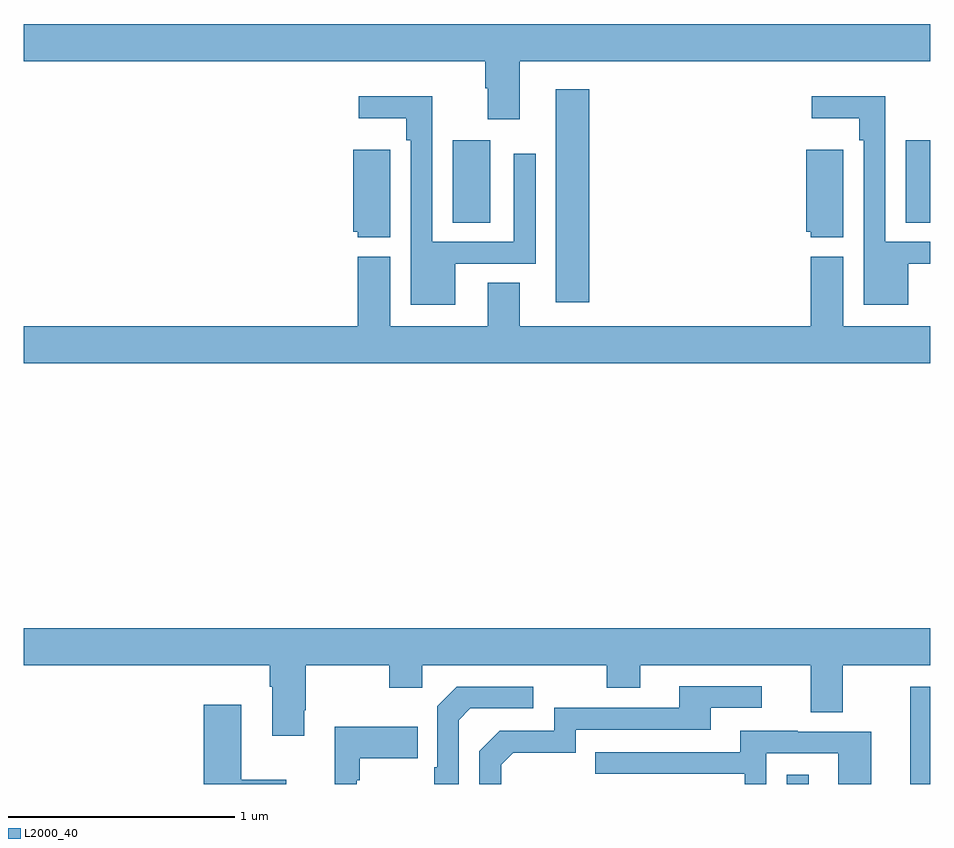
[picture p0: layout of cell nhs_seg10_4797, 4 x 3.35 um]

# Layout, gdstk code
import gdstk
lib = gdstk.Library(unit=1e-6, precision=1e-09)
def R(c, l, rs):  # rectangles x0, y0, x1, y1
    for r in rs: c.add(gdstk.rectangle(r[:2], r[2:], *l))
def P(c, l, *ps):  # polygons
    for p in ps: c.add(gdstk.Polygon(p, *l))
L2000_40 = (2000, 40)

nhs_seg10_4797 = lib.new_cell('nhs_seg10_4797')
R(nhs_seg10_4797, L2000_40, [(390.366,1258.5,390.463,1258.54), (390.911,1258.5,391,1258.929), (389.348,1260.624,389.495,1261.564), (388.892,1260.976,389.059,1261.339), (390.89,1260.976,391,1261.339)])
P(nhs_seg10_4797, L2000_40, [(389.188,1261.688),(391,1261.688),(391,1261.852),(387,1261.852),(387,1261.688),(389.036,1261.688),(389.036,1261.568),(389.048,1261.568),(389.048,1261.431),(389.188,1261.431)],
  [(390.901,1260.795),(391,1260.795),(391,1260.891),(390.801,1260.891),(390.801,1261.534),(390.477,1261.534),(390.477,1261.436),(390.685,1261.436),(390.685,1261.34),(390.705,1261.34),(390.705,1260.614),(390.901,1260.614)],
  [(388.903,1260.795),(389.259,1260.795),(389.259,1261.279),(389.163,1261.279),(389.163,1260.891),(388.803,1260.891),(388.803,1261.534),(388.479,1261.534),(388.479,1261.436),(388.687,1261.436),(388.687,1261.34),(388.707,1261.34),(388.707,1260.614),(388.903,1260.614)],
  [(388.618,1261.297),(388.454,1261.297),(388.454,1260.936),(388.473,1260.936),(388.473,1260.911),(388.618,1260.911)],
  [(390.616,1261.297),(390.452,1261.297),(390.452,1260.936),(390.471,1260.936),(390.471,1260.911),(390.616,1260.911)],
  [(391,1260.52),(390.616,1260.52),(390.616,1260.826),(390.473,1260.826),(390.473,1260.52),(389.188,1260.52),(389.188,1260.71),(389.048,1260.71),(389.048,1260.52),(388.618,1260.52),(388.618,1260.826),(388.475,1260.826),(388.475,1260.52),(387,1260.52),(387,1260.356),(391,1260.356)],
  [(388.237,1258.825),(388.245,1258.825),(388.245,1259.024),(388.612,1259.024),(388.612,1258.925),(388.758,1258.925),(388.758,1259.024),(389.572,1259.024),(389.572,1258.925),(389.719,1258.925),(389.719,1259.024),(390.473,1259.024),(390.473,1258.816),(390.613,1258.816),(390.613,1259.024),(391,1259.024),(391,1259.188),(387,1259.188),(387,1259.024),(388.085,1259.024),(388.085,1258.928),(388.097,1258.928),(388.097,1258.713),(388.237,1258.713)],
  [(389.106,1258.584),(389.159,1258.637),(389.436,1258.637),(389.436,1258.74),(390.031,1258.74),(390.031,1258.836),(390.256,1258.836),(390.256,1258.932),(389.891,1258.932),(389.891,1258.836),(389.34,1258.836),(389.34,1258.734),(389.1,1258.734),(389.01,1258.644),(389.01,1258.5),(389.106,1258.5)],
  [(388.92,1258.782),(388.971,1258.833),(389.248,1258.833),(389.248,1258.929),(388.911,1258.929),(388.824,1258.842),(388.824,1258.573),(388.812,1258.573),(388.812,1258.5),(388.92,1258.5)],
  [(388.159,1258.519),(387.961,1258.519),(387.961,1258.849),(387.794,1258.849),(387.794,1258.5),(388.159,1258.5)],
  [(388.47,1258.517),(388.483,1258.517),(388.483,1258.613),(388.739,1258.613),(388.739,1258.753),(388.373,1258.753),(388.373,1258.5),(388.47,1258.5)],
  [(390.276,1258.635),(390.594,1258.635),(390.594,1258.5),(390.739,1258.5),(390.739,1258.731),(390.415,1258.731),(390.415,1258.735),(390.161,1258.735),(390.161,1258.641),(389.521,1258.641),(389.521,1258.545),(390.18,1258.545),(390.18,1258.5),(390.276,1258.5)])

lib.write_gds('nhs_seg10_4797.gds')
